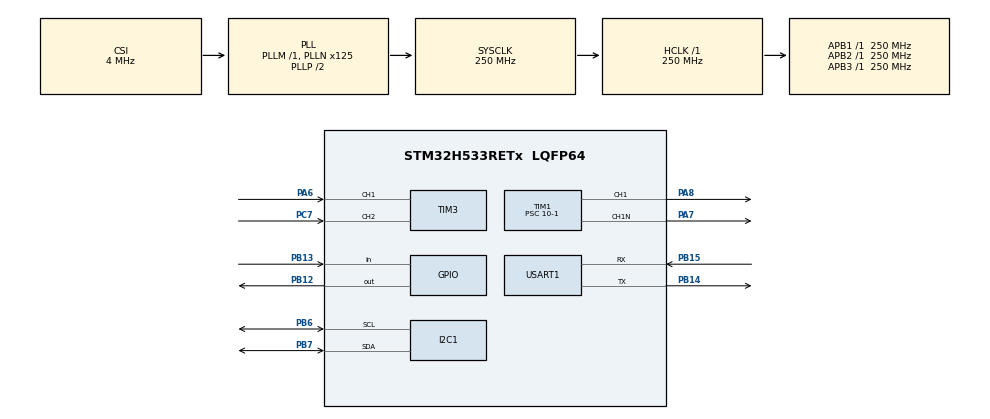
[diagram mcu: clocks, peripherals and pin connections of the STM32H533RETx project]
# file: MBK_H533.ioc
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BOOTPATH.BootPathName=LEGACY
BOOTPATH.UserSelectedBootPath=LEGACY
CORTEX_M33_NS.userName=CORTEX_M33
GPDMA1.DESTINC_GPDMACH1=DMA_DINC_INCREMENTED
GPDMA1.DIRECTION_GPDMACH0=DMA_MEMORY_TO_PERIPH
GPDMA1.IPHANDLE_GPDMACH0-SIMPLEREQUEST_GPDMACH0=__NULL
GPDMA1.IPHANDLE_GPDMACH1-SIMPLEREQUEST_GPDMACH1=__NULL
GPDMA1.RECAP_GPDMACH0=USART1_TX
GPDMA1.RECAP_GPDMACH1=USART1_RX
GPDMA1.REQUEST_GPDMACH0=GPDMA1_REQUEST_USART1_TX
GPDMA1.REQUEST_GPDMACH1=GPDMA1_REQUEST_USART1_RX
GPDMA1.SRCINC_GPDMACH0=DMA_SINC_INCREMENTED
GPDMA1.SRCINC_GPDMACH1=DMA_SINC_FIXED
I2C1.Timing=0x60808CD3
Mcu.Family=STM32H5
Mcu.Name=STM32H533RETx
Mcu.Package=LQFP64
NUCLEO-H533RE.BUTTON=1
NUCLEO-H533RE.LD4=true
NUCLEO-H533RE.VCP=true
NVIC.EXTI13_IRQn=true\:0\:0\:false\:false\:true\:false\:true\:true
NVIC.GPDMA1_Channel0_IRQn=true\:1\:0\:true\:false\:true\:false\:true\:true
NVIC.GPDMA1_Channel1_IRQn=true\:1\:0\:true\:false\:true\:false\:true\:true
NVIC.PriorityGroup=NVIC_PRIORITYGROUP_4
NVIC.TIM2_IRQn=true\:1\:0\:true\:false\:true\:true\:true\:true
NVIC.TIM4_IRQn=true\:0\:0\:false\:false\:true\:true\:true\:true
NVIC.TIM5_IRQn=true\:1\:0\:true\:false\:true\:true\:true\:true
NVIC.USART1_IRQn=true\:1\:0\:true\:false\:true\:true\:true\:true
PA13(JTMS/SWDIO).GPIO_Label=SWDIO
PA13(JTMS/SWDIO).Signal=DEBUG_JTMS-SWDIO
PA14(JTCK/SWCLK).GPIO_Label=SWCLK
PA14(JTCK/SWCLK).Signal=DEBUG_JTCK-SWCLK
PA15(JTDI).GPIO_Label=JTDI
PA15(JTDI).Signal=DEBUG_JTDI
PA2.Signal=USART2_TX
PA3.Signal=USART2_RX
PA6.Signal=S_TIM3_CH1
PA7.Mode=PWM Generation1 CH1 CH1N
PA7.Signal=TIM1_CH1N
PA8.Signal=S_TIM1_CH1
PB12.Signal=GPIO_Output
PB13.Signal=GPIO_Input
PB14.Mode=Asynchronous
PB14.Signal=USART1_TX
PB15.Mode=Asynchronous
PB15.Signal=USART1_RX
PB3(JTDO/TRACESWO).GPIO_Label=SWO
PB3(JTDO/TRACESWO).Signal=DEBUG_JTDO-SWO
PB6.Mode=I2C
PB6.Signal=I2C1_SCL
PB7.Mode=I2C
PB7.Signal=I2C1_SDA
PC7.Signal=S_TIM3_CH2
ProjectManager.HeapSize=0x200
ProjectManager.StackSize=0x400
ProjectManager.TargetToolchain=MDK-ARM V5.37
RCC.ADCFreq_Value=250000000
RCC.AHBFreq_Value=250000000
RCC.APB1Freq_Value=250000000
RCC.APB1TimFreq_Value=250000000
RCC.APB2Freq_Value=250000000
RCC.APB2TimFreq_Value=250000000
RCC.APB3Freq_Value=250000000
RCC.CSI_VALUE=4000000
RCC.CortexFreq_Value=250000000
RCC.EPOD_VALUE=4000000
RCC.HCLKFreq_Value=250000000
RCC.HSE_VALUE=25000000
RCC.HSI48_VALUE=48000000
RCC.HSI_VALUE=64000000
RCC.LSE_VALUE=32768
RCC.LSIRC_VALUE=32000
RCC.PLL2FRACN=0
RCC.PLL3FRACN=0
RCC.PLLFRACN=0
RCC.PLLN=125
RCC.SYSCLKFreq_VALUE=250000000
RCC.SYSCLKSource=RCC_SYSCLKSOURCE_PLLCLK
RCC.USBFreq_Value=48000000
RCC.VCOOutputFreq_Value=500000000
SH.S_TIM1_CH1.0=TIM1_CH1,PWM Generation1 CH1 CH1N
SH.S_TIM3_CH1.0=TIM3_CH1,Encoder_Interface
SH.S_TIM3_CH2.0=TIM3_CH2,Encoder_Interface
TIM1.Channel-PWM\ Generation1\ CH1\ CH1N=TIM_CHANNEL_1
TIM1.DeadTime=120
TIM1.PeriodNoDither=1000
TIM1.Prescaler=10-1
TIM2.PeriodNoDither=1000-1
TIM2.Prescaler=250-1
TIM3.EncoderMode=TIM_ENCODERMODE_TI12
TIM4.PeriodNoDither=499
TIM4.Prescaler=249
TIM5.PeriodNoDither=1000-1
TIM5.Prescaler=250-1
USART1.VirtualMode-Asynchronous=VM_ASYNC
VP_BOOTPATH_VS_BOOTPATH.Mode=BP_Activate
VP_CORTEX_M33_NS_VS_Hclk.Mode=Hclk_Mode
VP_GPDMA1_VS_GPDMACH0.Mode=SIMPLEREQUEST_GPDMACH0
VP_GPDMA1_VS_GPDMACH1.Mode=SIMPLEREQUEST_GPDMACH1
VP_MEMORYMAP_VS_MEMORYMAP.Mode=CurAppReg
VP_NUCLEO-H533RE_VS_BSP_COMMON.Mode=COMMON
VP_PWR_VS_LPOM.Mode=PowerOptimisation
VP_PWR_VS_SECSignals.Mode=Security/Privilege
VP_TIM1_VS_ClockSourceINT.Mode=Internal
VP_TIM2_VS_ClockSourceINT.Mode=Internal
VP_TIM4_VS_ClockSourceINT.Mode=Internal
VP_TIM5_VS_ClockSourceINT.Mode=Internal
board=NUCLEO-H533RE

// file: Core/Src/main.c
/* USER CODE BEGIN Header */
/**
  ******************************************************************************
  * @file           : main.c
  * @brief          : Main program body
  ******************************************************************************
  * @attention
  *
  * Copyright (c) 2026 STMicroelectronics.
  * All rights reserved.
  *
  * This software is licensed under terms that can be found in the LICENSE file
  * in the root directory of this software component.
  * If no LICENSE file comes with this software, it is provided AS-IS.
  *
  ******************************************************************************
  */
/* USER CODE END Header */
#include "main.h"

/* USER CODE BEGIN Includes */
#define GLOBAL_DEFINITION
#include "oled.h"
#include "hc04.h"
#include "elec391_533.h"
#include "VOFA.h"
#include "homing_control.h"

/* USER CODE END Includes */

COM_InitTypeDef BspCOMInit;

I2C_HandleTypeDef hi2c1;

TIM_HandleTypeDef htim1;
TIM_HandleTypeDef htim2;
TIM_HandleTypeDef htim3;
TIM_HandleTypeDef htim4;
TIM_HandleTypeDef htim5;

UART_HandleTypeDef huart1;
DMA_HandleTypeDef handle_GPDMA1_Channel1;
DMA_HandleTypeDef handle_GPDMA1_Channel0;

void SystemClock_Config(void);
static void MX_GPDMA1_Init(void);
static void MX_GPIO_Init(void);
static void MX_USART1_UART_Init(void);
static void MX_I2C1_Init(void);
static void MX_TIM1_Init(void);
static void MX_TIM3_Init(void);
static void MX_TIM4_Init(void);
static void MX_TIM2_Init(void);
static void MX_TIM5_Init(void);

int main(void)
{

  /* MCU Configuration--------------------------------------------------------*/

  /* Reset of all peripherals, Initializes the Flash interface and the Systick. */
  HAL_Init();

  /* Configure the system clock */
  SystemClock_Config();

  /* Initialize all configured peripherals */
  MX_GPDMA1_Init();
  MX_GPIO_Init();
  MX_USART1_UART_Init();
  MX_I2C1_Init();
  MX_TIM1_Init();
  MX_TIM3_Init();
  MX_TIM4_Init();
  MX_TIM2_Init();
  MX_TIM5_Init();

  /* Initialize leds */
  BSP_LED_Init(LED_GREEN);

  /* Initialize USER push-button, will be used to trigger an interrupt each time it's pressed.*/
  BSP_PB_Init(BUTTON_USER, BUTTON_MODE_EXTI);

  /* Initialize COM1 port (115200, 8 bits (7-bit data + 1 stop bit), no parity */
  BspCOMInit.BaudRate   = 115200;
  BspCOMInit.WordLength = COM_WORDLENGTH_8B;
  BspCOMInit.StopBits   = COM_STOPBITS_1;
  BspCOMInit.Parity     = COM_PARITY_NONE;
  BspCOMInit.HwFlowCtl  = COM_HWCONTROL_NONE;
  if (BSP_COM_Init(COM1, &BspCOMInit) != BSP_ERROR_NONE)
  {
    Error_Handler();
  }

  /* Infinite loop */
  /* USER CODE BEGIN WHILE */

  // timer2 for general timing: tik = 1ms
  HAL_TIM_Base_Start_IT(&htim2);

  // timer4 for measurement: tik = 0.5ms
  HAL_TIM_Base_Start_IT(&htim4);

  // timer5 for press timing: tik = 1ms
  HAL_TIM_Base_Start_IT(&htim5);

	// pwm_ch1
	HAL_TIM_PWM_Start(&htim1, TIM_CHANNEL_1);
  // pwm_ch1n
	HAL_TIMEx_PWMN_Start(&htim1, TIM_CHANNEL_1);

  // encoder mode
  HAL_TIM_Encoder_Start(&htim3, TIM_CHANNEL_ALL);

  OLED_Init();
  msec_count_frame = 0;
  settle_count = 0;

  system_mode = 0;
  press_count = 0;
  mode3_state = 0;

  homing_flag = 0;
  half_msec_count_measure = 0;
  main_update = 0;
  counter_acc = 0;
  counter = 0;
  target = 0;
  temp = 0;

  HAL_UARTEx_ReceiveToIdle_DMA(&huart1, BT_DMA_rx_buff, BT_RX_LEN);

  __HAL_TIM_SET_COMPARE(&htim1, TIM_CHANNEL_1, 500);
  Kp = 0.05;
  Ki = 0.015;
  // Kd = 0.130;
  Kd = 1.2;

  HAL_Delay(400);
  while (1){

    if(main_update == 1){

      // mode check
      // Halt mode: nothing
      if(system_mode == 0){
        //                             1234567890123456
        OLED_Printf(0, 0,  OLED_8X16, "Mod: Resting... ");
        OLED_Printf(0, 16, OLED_8X16, "Tar: %.3f       ", target);
        // OLED_Printf(0, 32, OLED_8X16, "Loc: %.3f       ", location);
        OLED_Printf(0, 32, OLED_8X16, "Cnt: %d       ", counter_acc);
        OLED_Printf(0, 48, OLED_8X16, "Spd: %.3f       ", rad_s);
        OLED_Update();
      }

      // Pid calibration mode:
      if(system_mode == 1){
        //                             1234567890123456
        OLED_Printf(0, 0,  OLED_8X16, "Mod: Pid Cali...");
        OLED_Printf(0, 16, OLED_8X16, "Tar: %.3f       ", target);
        // OLED_Printf(0, 32, OLED_8X16, "Loc: %.3f       ", location);
        OLED_Printf(0, 32, OLED_8X16, "Cnt: %d       ", counter_acc);
        OLED_Printf(0, 48, OLED_8X16, "Spd: %.3f       ", rad_s);
        OLED_Update();
      }

      if(system_mode == 2){
        //                             1234567890123456
        OLED_Printf(0, 0,  OLED_8X16, "Mod: Homing.....");
        OLED_Printf(0, 16, OLED_8X16, "Tar: %.3f       ", target);
        // OLED_Printf(0, 32, OLED_8X16, "Loc: %.3f       ", location);
        OLED_Printf(0, 32, OLED_8X16, "Cnt: %d       ", counter_acc);
        OLED_Printf(0, 48, OLED_8X16, "Spd: %.3f       ", rad_s);
        OLED_Update();
        homing_control(1);
        system_mode = 0;
      }

      if(system_mode == 3){
        //                               1234567890123456
        if(mode3_state == 0){
          OLED_Printf(0, 0,  OLED_8X16, "Mod: Auto.......");
          OLED_Printf(0, 16, OLED_8X16, "S:   Homing.....");
          OLED_Printf(0, 32, OLED_8X16, "Tar: %.3f       ", target);
          // OLED_Printf(0, 48, OLED_8X16, "Loc: %.3f       ", location);
          OLED_Printf(0, 48, OLED_8X16, "Cnt: %d       ", counter_acc);
          OLED_Update();
          homing_control(1);
          mode3_state = 1;
          event_index = 0;
          settle_count = 0;
        }
        else if(mode3_state == 1){
          OLED_Printf(0, 0,  OLED_8X16, "Mod: Auto.......");
          OLED_Printf(0, 16, OLED_8X16, "S:   Locing.....");
          OLED_Printf(0, 32, OLED_8X16, "Tar: %.3f       ", target);
          // OLED_Printf(0, 48, OLED_8X16, "Loc: %.3f       ", location);
          OLED_Printf(0, 48, OLED_8X16, "Cnt: %d       ", counter_acc);
          OLED_Update();
        }
        else if(mode3_state == 2){
          OLED_Printf(0, 0,  OLED_8X16, "Mod: Auto.......");
          OLED_Printf(0, 16, OLED_8X16, "S:   Pressing...");
          OLED_Printf(0, 32, OLED_8X16, "Tar: %.3f       ", target);
          // OLED_Printf(0, 48, OLED_8X16, "Loc: %.3f       ", location);
          OLED_Printf(0, 48, OLED_8X16, "Cnt: %d       ", counter_acc);
          OLED_Update();
        }
      }

      main_update = 0;
    }
    /* USER CODE END WHILE */

  }
}

void SystemClock_Config(void)
{
  RCC_OscInitTypeDef RCC_OscInitStruct = {0};
  RCC_ClkInitTypeDef RCC_ClkInitStruct = {0};

  /** Configure the main internal regulator output voltage
  */
  __HAL_PWR_VOLTAGESCALING_CONFIG(PWR_REGULATOR_VOLTAGE_SCALE0);

  while(!__HAL_PWR_GET_FLAG(PWR_FLAG_VOSRDY)) {}

  /** Initializes the RCC Oscillators according to the specified parameters
  * in the RCC_OscInitTypeDef structure.
  */
  RCC_OscInitStruct.OscillatorType = RCC_OSCILLATORTYPE_CSI;
  RCC_OscInitStruct.CSIState = RCC_CSI_ON;
  RCC_OscInitStruct.CSICalibrationValue = RCC_CSICALIBRATION_DEFAULT;
  RCC_OscInitStruct.PLL.PLLState = RCC_PLL_ON;
  RCC_OscInitStruct.PLL.PLLSource = RCC_PLL1_SOURCE_CSI;
  RCC_OscInitStruct.PLL.PLLM = 1;
  RCC_OscInitStruct.PLL.PLLN = 125;
  RCC_OscInitStruct.PLL.PLLP = 2;
  RCC_OscInitStruct.PLL.PLLQ = 2;
  RCC_OscInitStruct.PLL.PLLR = 2;
  RCC_OscInitStruct.PLL.PLLRGE = RCC_PLL1_VCIRANGE_2;
  RCC_OscInitStruct.PLL.PLLVCOSEL = RCC_PLL1_VCORANGE_WIDE;
  RCC_OscInitStruct.PLL.PLLFRACN = 0;
  if (HAL_RCC_OscConfig(&RCC_OscInitStruct) != HAL_OK)
  {
    Error_Handler();
  }

  /** Initializes the CPU, AHB and APB buses clocks
  */
  RCC_ClkInitStruct.ClockType = RCC_CLOCKTYPE_HCLK|RCC_CLOCKTYPE_SYSCLK
                              |RCC_CLOCKTYPE_PCLK1|RCC_CLOCKTYPE_PCLK2
                              |RCC_CLOCKTYPE_PCLK3;
  RCC_ClkInitStruct.SYSCLKSource = RCC_SYSCLKSOURCE_PLLCLK;
  RCC_ClkInitStruct.AHBCLKDivider = RCC_SYSCLK_DIV1;
  RCC_ClkInitStruct.APB1CLKDivider = RCC_HCLK_DIV1;
  RCC_ClkInitStruct.APB2CLKDivider = RCC_HCLK_DIV1;
  RCC_ClkInitStruct.APB3CLKDivider = RCC_HCLK_DIV1;

  if (HAL_RCC_ClockConfig(&RCC_ClkInitStruct, FLASH_LATENCY_5) != HAL_OK)
  {
    Error_Handler();
  }

  /** Configure the programming delay
  */
  __HAL_FLASH_SET_PROGRAM_DELAY(FLASH_PROGRAMMING_DELAY_2);
}

static void MX_GPDMA1_Init(void)
{

  /* Peripheral clock enable */
  __HAL_RCC_GPDMA1_CLK_ENABLE();

  /* GPDMA1 interrupt Init */
    HAL_NVIC_SetPriority(GPDMA1_Channel0_IRQn, 1, 0);
    HAL_NVIC_EnableIRQ(GPDMA1_Channel0_IRQn);
    HAL_NVIC_SetPriority(GPDMA1_Channel1_IRQn, 1, 0);
    HAL_NVIC_EnableIRQ(GPDMA1_Channel1_IRQn);

}

static void MX_I2C1_Init(void)
{

  hi2c1.Instance = I2C1;
  hi2c1.Init.Timing = 0x60808CD3;
  hi2c1.Init.OwnAddress1 = 0;
  hi2c1.Init.AddressingMode = I2C_ADDRESSINGMODE_7BIT;
  hi2c1.Init.DualAddressMode = I2C_DUALADDRESS_DISABLE;
  hi2c1.Init.OwnAddress2 = 0;
  hi2c1.Init.OwnAddress2Masks = I2C_OA2_NOMASK;
  hi2c1.Init.GeneralCallMode = I2C_GENERALCALL_DISABLE;
  hi2c1.Init.NoStretchMode = I2C_NOSTRETCH_DISABLE;
  if (HAL_I2C_Init(&hi2c1) != HAL_OK)
  {
    Error_Handler();
  }

  /** Configure Analogue filter
  */
  if (HAL_I2CEx_ConfigAnalogFilter(&hi2c1, I2C_ANALOGFILTER_ENABLE) != HAL_OK)
  {
    Error_Handler();
  }

  /** Configure Digital filter
  */
  if (HAL_I2CEx_ConfigDigitalFilter(&hi2c1, 0) != HAL_OK)
  {
    Error_Handler();
  }

}

static void MX_TIM1_Init(void)
{

  TIM_ClockConfigTypeDef sClockSourceConfig = {0};
  TIM_MasterConfigTypeDef sMasterConfig = {0};
  TIM_OC_InitTypeDef sConfigOC = {0};
  TIM_BreakDeadTimeConfigTypeDef sBreakDeadTimeConfig = {0};

  htim1.Instance = TIM1;
  htim1.Init.Prescaler = 10-1;
  htim1.Init.CounterMode = TIM_COUNTERMODE_UP;
  htim1.Init.Period = 1000;
  htim1.Init.ClockDivision = TIM_CLOCKDIVISION_DIV1;
  htim1.Init.RepetitionCounter = 0;
  htim1.Init.AutoReloadPreload = TIM_AUTORELOAD_PRELOAD_DISABLE;
  if (HAL_TIM_Base_Init(&htim1) != HAL_OK)
  {
    Error_Handler();
  }
  sClockSourceConfig.ClockSource = TIM_CLOCKSOURCE_INTERNAL;
  if (HAL_TIM_ConfigClockSource(&htim1, &sClockSourceConfig) != HAL_OK)
  {
    Error_Handler();
  }
  if (HAL_TIM_PWM_Init(&htim1) != HAL_OK)
  {
    Error_Handler();
  }
  sMasterConfig.MasterOutputTrigger = TIM_TRGO_RESET;
  sMasterConfig.MasterOutputTrigger2 = TIM_TRGO2_RESET;
  sMasterConfig.MasterSlaveMode = TIM_MASTERSLAVEMODE_DISABLE;
  if (HAL_TIMEx_MasterConfigSynchronization(&htim1, &sMasterConfig) != HAL_OK)
  {
    Error_Handler();
  }
  sConfigOC.OCMode = TIM_OCMODE_PWM1;
  sConfigOC.Pulse = 0;
  sConfigOC.OCPolarity = TIM_OCPOLARITY_HIGH;
  sConfigOC.OCNPolarity = TIM_OCNPOLARITY_HIGH;
  sConfigOC.OCFastMode = TIM_OCFAST_DISABLE;
  sConfigOC.OCIdleState = TIM_OCIDLESTATE_RESET;
  sConfigOC.OCNIdleState = TIM_OCNIDLESTATE_RESET;
  if (HAL_TIM_PWM_ConfigChannel(&htim1, &sConfigOC, TIM_CHANNEL_1) != HAL_OK)
  {
    Error_Handler();
  }
  sBreakDeadTimeConfig.OffStateRunMode = TIM_OSSR_DISABLE;
  sBreakDeadTimeConfig.OffStateIDLEMode = TIM_OSSI_DISABLE;
  sBreakDeadTimeConfig.LockLevel = TIM_LOCKLEVEL_OFF;
  sBreakDeadTimeConfig.DeadTime = 120;
  sBreakDeadTimeConfig.BreakState = TIM_BREAK_DISABLE;
  sBreakDeadTimeConfig.BreakPolarity = TIM_BREAKPOLARITY_HIGH;
  sBreakDeadTimeConfig.BreakFilter = 0;
  sBreakDeadTimeConfig.BreakAFMode = TIM_BREAK_AFMODE_INPUT;
  sBreakDeadTimeConfig.Break2State = TIM_BREAK2_DISABLE;
  sBreakDeadTimeConfig.Break2Polarity = TIM_BREAK2POLARITY_HIGH;
  sBreakDeadTimeConfig.Break2Filter = 0;
  sBreakDeadTimeConfig.Break2AFMode = TIM_BREAK_AFMODE_INPUT;
  sBreakDeadTimeConfig.AutomaticOutput = TIM_AUTOMATICOUTPUT_DISABLE;
  if (HAL_TIMEx_ConfigBreakDeadTime(&htim1, &sBreakDeadTimeConfig) != HAL_OK)
  {
    Error_Handler();
  }
  HAL_TIM_MspPostInit(&htim1);

}

static void MX_TIM2_Init(void)
{

  TIM_ClockConfigTypeDef sClockSourceConfig = {0};
  TIM_MasterConfigTypeDef sMasterConfig = {0};

  htim2.Instance = TIM2;
  htim2.Init.Prescaler = 250-1;
  htim2.Init.CounterMode = TIM_COUNTERMODE_UP;
  htim2.Init.Period = 999;
  htim2.Init.ClockDivision = TIM_CLOCKDIVISION_DIV1;
  htim2.Init.AutoReloadPreload = TIM_AUTORELOAD_PRELOAD_DISABLE;
  if (HAL_TIM_Base_Init(&htim2) != HAL_OK)
  {
    Error_Handler();
  }
  sClockSourceConfig.ClockSource = TIM_CLOCKSOURCE_INTERNAL;
  if (HAL_TIM_ConfigClockSource(&htim2, &sClockSourceConfig) != HAL_OK)
  {
    Error_Handler();
  }
  sMasterConfig.MasterOutputTrigger = TIM_TRGO_RESET;
  sMasterConfig.MasterSlaveMode = TIM_MASTERSLAVEMODE_DISABLE;
  if (HAL_TIMEx_MasterConfigSynchronization(&htim2, &sMasterConfig) != HAL_OK)
  {
    Error_Handler();
  }

}

static void MX_TIM3_Init(void)
{

  TIM_Encoder_InitTypeDef sConfig = {0};
  TIM_MasterConfigTypeDef sMasterConfig = {0};

  htim3.Instance = TIM3;
  htim3.Init.Prescaler = 0;
  htim3.Init.CounterMode = TIM_COUNTERMODE_UP;
  htim3.Init.Period = 65535;
  htim3.Init.ClockDivision = TIM_CLOCKDIVISION_DIV1;
  htim3.Init.AutoReloadPreload = TIM_AUTORELOAD_PRELOAD_DISABLE;
  sConfig.EncoderMode = TIM_ENCODERMODE_TI12;
  sConfig.IC1Polarity = TIM_ICPOLARITY_RISING;
  sConfig.IC1Selection = TIM_ICSELECTION_DIRECTTI;
  sConfig.IC1Prescaler = TIM_ICPSC_DIV1;
  sConfig.IC1Filter = 0;
  sConfig.IC2Polarity = TIM_ICPOLARITY_RISING;
  sConfig.IC2Selection = TIM_ICSELECTION_DIRECTTI;
  sConfig.IC2Prescaler = TIM_ICPSC_DIV1;
  sConfig.IC2Filter = 0;
  if (HAL_TIM_Encoder_Init(&htim3, &sConfig) != HAL_OK)
  {
    Error_Handler();
  }
  sMasterConfig.MasterOutputTrigger = TIM_TRGO_RESET;
  sMasterConfig.MasterSlaveMode = TIM_MASTERSLAVEMODE_DISABLE;
  if (HAL_TIMEx_MasterConfigSynchronization(&htim3, &sMasterConfig) != HAL_OK)
  {
    Error_Handler();
  }

}

static void MX_TIM4_Init(void)
{

  TIM_ClockConfigTypeDef sClockSourceConfig = {0};
  TIM_MasterConfigTypeDef sMasterConfig = {0};

  htim4.Instance = TIM4;
  htim4.Init.Prescaler = 249;
  htim4.Init.CounterMode = TIM_COUNTERMODE_UP;
  htim4.Init.Period = 499;
  htim4.Init.ClockDivision = TIM_CLOCKDIVISION_DIV1;
  htim4.Init.AutoReloadPreload = TIM_AUTORELOAD_PRELOAD_DISABLE;
  if (HAL_TIM_Base_Init(&htim4) != HAL_OK)
  {
    Error_Handler();
  }
  sClockSourceConfig.ClockSource = TIM_CLOCKSOURCE_INTERNAL;
  if (HAL_TIM_ConfigClockSource(&htim4, &sClockSourceConfig) != HAL_OK)
  {
    Error_Handler();
  }
  sMasterConfig.MasterOutputTrigger = TIM_TRGO_RESET;
  sMasterConfig.MasterSlaveMode = TIM_MASTERSLAVEMODE_DISABLE;
  if (HAL_TIMEx_MasterConfigSynchronization(&htim4, &sMasterConfig) != HAL_OK)
  {
    Error_Handler();
  }

}

static void MX_TIM5_Init(void)
{

  TIM_ClockConfigTypeDef sClockSourceConfig = {0};
  TIM_MasterConfigTypeDef sMasterConfig = {0};

  htim5.Instance = TIM5;
  htim5.Init.Prescaler = 250-1;
  htim5.Init.CounterMode = TIM_COUNTERMODE_UP;
  htim5.Init.Period = 999;
  htim5.Init.ClockDivision = TIM_CLOCKDIVISION_DIV1;
  htim5.Init.AutoReloadPreload = TIM_AUTORELOAD_PRELOAD_DISABLE;
  if (HAL_TIM_Base_Init(&htim5) != HAL_OK)
  {
    Error_Handler();
  }
  sClockSourceConfig.ClockSource = TIM_CLOCKSOURCE_INTERNAL;
  if (HAL_TIM_ConfigClockSource(&htim5, &sClockSourceConfig) != HAL_OK)
  {
    Error_Handler();
  }
  sMasterConfig.MasterOutputTrigger = TIM_TRGO_RESET;
  sMasterConfig.MasterSlaveMode = TIM_MASTERSLAVEMODE_DISABLE;
  if (HAL_TIMEx_MasterConfigSynchronization(&htim5, &sMasterConfig) != HAL_OK)
  {
    Error_Handler();
  }

}

static void MX_USART1_UART_Init(void)
{

  huart1.Instance = USART1;
  huart1.Init.BaudRate = 115200;
  huart1.Init.WordLength = UART_WORDLENGTH_8B;
  huart1.Init.StopBits = UART_STOPBITS_1;
  huart1.Init.Parity = UART_PARITY_NONE;
  huart1.Init.Mode = UART_MODE_TX_RX;
  huart1.Init.HwFlowCtl = UART_HWCONTROL_NONE;
  huart1.Init.OverSampling = UART_OVERSAMPLING_16;
  huart1.Init.OneBitSampling = UART_ONE_BIT_SAMPLE_DISABLE;
  huart1.Init.ClockPrescaler = UART_PRESCALER_DIV1;
  huart1.AdvancedInit.AdvFeatureInit = UART_ADVFEATURE_NO_INIT;
  if (HAL_UART_Init(&huart1) != HAL_OK)
  {
    Error_Handler();
  }
  if (HAL_UARTEx_SetTxFifoThreshold(&huart1, UART_TXFIFO_THRESHOLD_1_8) != HAL_OK)
  {
    Error_Handler();
  }
  if (HAL_UARTEx_SetRxFifoThreshold(&huart1, UART_RXFIFO_THRESHOLD_1_8) != HAL_OK)
  {
    Error_Handler();
  }
  if (HAL_UARTEx_DisableFifoMode(&huart1) != HAL_OK)
  {
    Error_Handler();
  }

}

static void MX_GPIO_Init(void)
{
  GPIO_InitTypeDef GPIO_InitStruct = {0};

  /* GPIO Ports Clock Enable */
  __HAL_RCC_GPIOA_CLK_ENABLE();
  __HAL_RCC_GPIOB_CLK_ENABLE();
  __HAL_RCC_GPIOC_CLK_ENABLE();

  /*Configure GPIO pin Output Level */
  HAL_GPIO_WritePin(GPIOB, GPIO_PIN_12, GPIO_PIN_RESET);

  /*Configure GPIO pin : PB12 */
  GPIO_InitStruct.Pin = GPIO_PIN_12;
  GPIO_InitStruct.Mode = GPIO_MODE_OUTPUT_PP;
  GPIO_InitStruct.Pull = GPIO_NOPULL;
  GPIO_InitStruct.Speed = GPIO_SPEED_FREQ_LOW;
  HAL_GPIO_Init(GPIOB, &GPIO_InitStruct);

  /*Configure GPIO pin : PB13 */
  GPIO_InitStruct.Pin = GPIO_PIN_13;
  GPIO_InitStruct.Mode = GPIO_MODE_INPUT;
  GPIO_InitStruct.Pull = GPIO_NOPULL;
  HAL_GPIO_Init(GPIOB, &GPIO_InitStruct);

}

void Error_Handler(void)
{
  __disable_irq();
  while (1)
  {
  }
}
